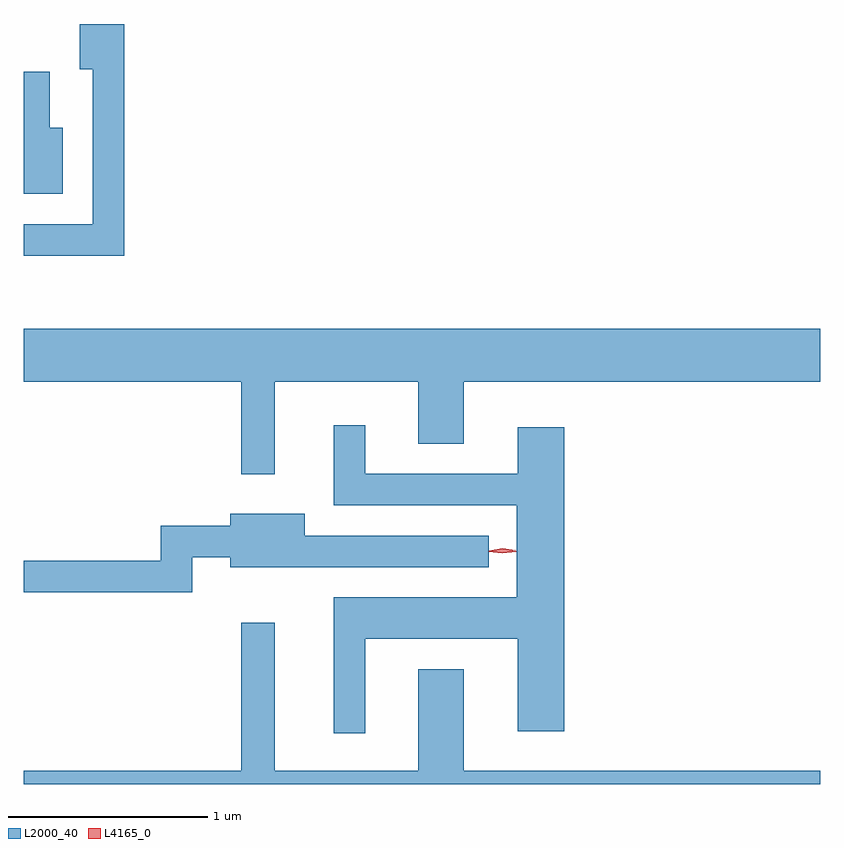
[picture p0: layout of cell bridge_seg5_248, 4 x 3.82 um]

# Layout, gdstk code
import gdstk
lib = gdstk.Library(unit=1e-6, precision=1e-09)
def P(c, l, *ps):  # polygons
    for p in ps: c.add(gdstk.Polygon(p, *l))
L2000_40 = (2000, 40)
L4165_0 = (4165, 0)

bridge_seg5_248 = lib.new_cell('bridge_seg5_248')
P(bridge_seg5_248, L2000_40, [(877.434,1478.574),(877.211,1478.574),(877.211,1478.346),(877.276,1478.346),(877.276,1477.569),(876.929,1477.569),(876.929,1477.411),(877.434,1477.411)],
  [(877.124,1478.054),(877.059,1478.054),(877.059,1478.334),(876.929,1478.334),(876.929,1477.721),(877.124,1477.721)],
  [(878.189,1476.776),(878.911,1476.776),(878.911,1476.466),(879.139,1476.466),(879.139,1476.776),(880.929,1476.776),(880.929,1477.044),(876.929,1477.044),(876.929,1476.776),(878.021,1476.776),(878.021,1476.313),(878.189,1476.313)],
  [(878.644,1475.486),(879.411,1475.486),(879.411,1475.021),(879.644,1475.021),(879.644,1476.549),(879.411,1476.549),(879.411,1476.314),(878.644,1476.314),(878.644,1476.558),(878.486,1476.558),(878.486,1476.156),(879.406,1476.156),(879.406,1475.694),(878.486,1475.694),(878.486,1475.013),(878.644,1475.013)],
  [(877.774,1475.896),(877.966,1475.896),(877.966,1475.846),(879.263,1475.846),(879.263,1476.004),(878.339,1476.004),(878.339,1476.114),(877.966,1476.114),(877.966,1476.054),(877.616,1476.054),(877.616,1475.879),(876.929,1475.879),(876.929,1475.721),(877.774,1475.721)],
  [(880.929,1474.824),(879.139,1474.824),(879.139,1475.334),(878.911,1475.334),(878.911,1474.824),(878.189,1474.824),(878.189,1475.568),(878.021,1475.568),(878.021,1474.824),(876.929,1474.824),(876.929,1474.757),(880.929,1474.757)])
P(bridge_seg5_248, L4165_0, [(879.333,1475.915),(879.264,1475.924),(879.264,1475.925),(879.264,1475.926),(879.333,1475.935),(879.402,1475.926),(879.403,1475.925),(879.402,1475.924)],
  [(879.334,1475.92),(879.267,1475.928),(879.267,1475.929),(879.267,1475.929),(879.333,1475.94),(879.399,1475.931),(879.4,1475.931),(879.399,1475.93)])

lib.write_gds('bridge_seg5_248.gds')
